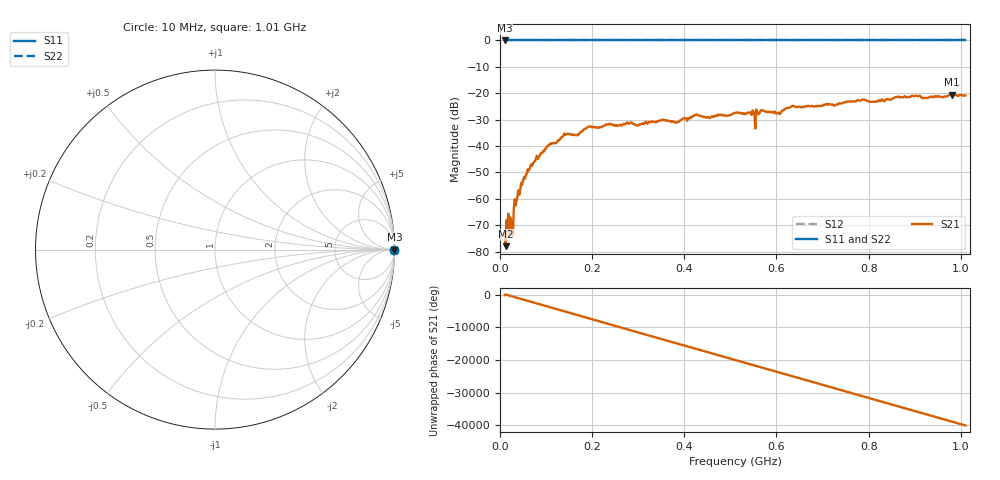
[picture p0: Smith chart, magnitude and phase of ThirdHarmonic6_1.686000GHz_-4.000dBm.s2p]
! 8/16/2025 8:14:18 PM
! C:\ANRITSUVNA\TEMP\TEMP.S2P
! CHANNEL.1
! TR.MEASUREMENT
! RAW.DATA
! RF.CORRECTION.OFF
! AVERAGING.OFF
! IF.BANDWIDTH: 5KHZ
! SWEEPTYPE:  FREQ.SWEEP(Linear)
! Reference Plane Port Info
! PORT:  PORT1  PORT2
! DISTANCE:  0  m  0  m
! TIME:  0  s  0  s
! PHASE.OFFSET:  0  deg.  0  deg.
! LOSS:  0  dB  0  dB
! REF.LOSS:  0  dB  0  dB
! REF.FREQ:  0  Hz  0  Hz
! Power Info
! POWER:  -20  dBm  -20  dBm
! EFF.POWER:  -20  dBm  -20  dBm
! SOURCE.ATTEN:  0  dB  0  dB
! TEST.ATTEN:  0  dB  0  dB
# GHZ S RI R 50.0
! FREQ.GHZ  S11RE  S11IM  S21RE  S21IM  S12RE  S12IM  S22RE  S22IM
!; PortSelection: Port_12
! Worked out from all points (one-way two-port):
!   501 points, 10 MHz to 1.01 GHz, reference 50 ohm
!   highest |S21| = -20.52 dB at 980 MHz (marker M1); lowest = -78.0 dB at 12 MHz (marker M2)
!   lowest |S11| = 0.0 dB at 10 MHz (marker M3)
!   |S11| at or under -10 dB: nowhere
!   |S22| runs from 0.0 to 0.0 dB; largest |S21 - S12| = 1.1
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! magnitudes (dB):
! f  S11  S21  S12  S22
! 10 MHz  0.0  -73.1  0.0  0.0
! 12 MHz  0.0  -78.0  0.0  0.0
! 18 MHz  0.0  -65.6  0.0  0.0
! 22 MHz  0.0  -67.1  0.0  0.0
! 24 MHz  0.0  -68.4  0.0  0.0
! 34 MHz  0.0  -62.5  0.0  0.0
! 48 MHz  0.0  -54.7  0.0  0.0
! 76 MHz  0.0  -45.8  0.0  0.0
! 106 MHz  0.0  -39.8  0.0  0.0
! 142 MHz  0.0  -35.8  0.0  0.0
! 178 MHz  0.0  -34.5  0.0  0.0
! 234 MHz  0.0  -31.8  0.0  0.0
! 344 MHz  0.0  -30.6  0.0  0.0
! 510 MHz  0.0  -27.5  0.0  0.0
! 558 MHz  0.0  -27.0  0.0  0.0
! 570 MHz  0.0  -26.5  0.0  0.0
! 604 MHz  0.0  -27.3  0.0  0.0
! 634 MHz  0.0  -24.8  0.0  0.0
! 678 MHz  0.0  -24.9  0.0  0.0
! 844 MHz  0.0  -22.4  0.0  0.0
! 980 MHz  0.0  -20.5  0.0  0.0
! 1.01 GHz  0.0  -20.8  0.0  0.0
